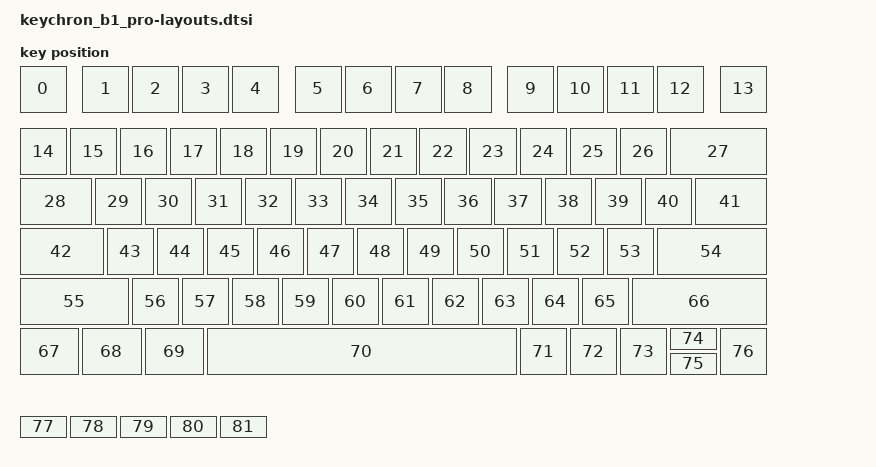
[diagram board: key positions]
/*
 * Copyright (c) 2026 zmk-kb1 contributors
 *
 * SPDX-License-Identifier: MIT
 *
 * Physical layout of the Keychron B1 Pro US, for ZMK Studio. Units are 1/100
 * of a key unit; the order follows default_transform. Key sizes and positions
 * are those of the B1 Pro US (PID 0x0711) in Keychron's Launcher definition
 * (app/src/launcher/875824913.json of Keychron ZMK at
 * c284513085c005edf5f9a52b28c8090cc6ed01d2), matched by matrix row and
 * column: 15 x 6.25 units, gaps in the F row, a 6.25-unit space bar and
 * half-height Up/Down keys. The last five entries stand for the direct inputs
 * (Mac/Win, BT, 2.4G, charging, charge done), drawn small below the keys.
 */

/ {
    layout_b1_pro_ansi: layout_b1_pro_ansi {
        compatible = "zmk,physical-layout";
        display-name = "B1 Pro US";
        transform = <&default_transform>;

        keys  //                       w   h    x   y rot rx ry
            = <&key_physical_attrs 100 100    0   0 0 0 0>  /*  0 RC(3,1) */,
              <&key_physical_attrs 100 100  125   0 0 0 0>  /*  1 RC(6,2) */,
              <&key_physical_attrs 100 100  225   0 0 0 0>  /*  2 RC(6,3) */,
              <&key_physical_attrs 100 100  325   0 0 0 0>  /*  3 RC(1,3) */,
              <&key_physical_attrs 100 100  425   0 0 0 0>  /*  4 RC(3,3) */,
              <&key_physical_attrs 100 100  550   0 0 0 0>  /*  5 RC(7,0) */,
              <&key_physical_attrs 100 100  650   0 0 0 0>  /*  6 RC(3,6) */,
              <&key_physical_attrs 100 100  750   0 0 0 0>  /*  7 RC(1,7) */,
              <&key_physical_attrs 100 100  850   0 0 0 0>  /*  8 RC(6,7) */,
              <&key_physical_attrs 100 100  975   0 0 0 0>  /*  9 RC(6,10) */,
              <&key_physical_attrs 100 100 1075   0 0 0 0>  /* 10 RC(7,10) */,
              <&key_physical_attrs 100 100 1175   0 0 0 0>  /* 11 RC(3,10) */,
              <&key_physical_attrs 100 100 1275   0 0 0 0>  /* 12 RC(5,10) */,
              <&key_physical_attrs 100 100 1400   0 0 0 0>  /* 13 RC(6,11) */,
              <&key_physical_attrs 100 100    0 125 0 0 0>  /* 14 RC(6,1) */,
              <&key_physical_attrs 100 100  100 125 0 0 0>  /* 15 RC(7,1) */,
              <&key_physical_attrs 100 100  200 125 0 0 0>  /* 16 RC(7,2) */,
              <&key_physical_attrs 100 100  300 125 0 0 0>  /* 17 RC(7,3) */,
              <&key_physical_attrs 100 100  400 125 0 0 0>  /* 18 RC(7,4) */,
              <&key_physical_attrs 100 100  500 125 0 0 0>  /* 19 RC(6,4) */,
              <&key_physical_attrs 100 100  600 125 0 0 0>  /* 20 RC(6,5) */,
              <&key_physical_attrs 100 100  700 125 0 0 0>  /* 21 RC(7,5) */,
              <&key_physical_attrs 100 100  800 125 0 0 0>  /* 22 RC(7,6) */,
              <&key_physical_attrs 100 100  900 125 0 0 0>  /* 23 RC(7,7) */,
              <&key_physical_attrs 100 100 1000 125 0 0 0>  /* 24 RC(7,8) */,
              <&key_physical_attrs 100 100 1100 125 0 0 0>  /* 25 RC(6,8) */,
              <&key_physical_attrs 100 100 1200 125 0 0 0>  /* 26 RC(6,6) */,
              <&key_physical_attrs 200 100 1300 125 0 0 0>  /* 27 RC(1,10) */,
              <&key_physical_attrs 150 100    0 225 0 0 0>  /* 28 RC(1,1) */,
              <&key_physical_attrs 100 100  150 225 0 0 0>  /* 29 RC(0,1) */,
              <&key_physical_attrs 100 100  250 225 0 0 0>  /* 30 RC(0,2) */,
              <&key_physical_attrs 100 100  350 225 0 0 0>  /* 31 RC(0,3) */,
              <&key_physical_attrs 100 100  450 225 0 0 0>  /* 32 RC(0,4) */,
              <&key_physical_attrs 100 100  550 225 0 0 0>  /* 33 RC(1,4) */,
              <&key_physical_attrs 100 100  650 225 0 0 0>  /* 34 RC(1,5) */,
              <&key_physical_attrs 100 100  750 225 0 0 0>  /* 35 RC(0,5) */,
              <&key_physical_attrs 100 100  850 225 0 0 0>  /* 36 RC(0,6) */,
              <&key_physical_attrs 100 100  950 225 0 0 0>  /* 37 RC(0,7) */,
              <&key_physical_attrs 100 100 1050 225 0 0 0>  /* 38 RC(0,8) */,
              <&key_physical_attrs 100 100 1150 225 0 0 0>  /* 39 RC(1,8) */,
              <&key_physical_attrs 100 100 1250 225 0 0 0>  /* 40 RC(1,6) */,
              <&key_physical_attrs 150 100 1350 225 0 0 0>  /* 41 RC(2,10) */,
              <&key_physical_attrs 175 100    0 325 0 0 0>  /* 42 RC(1,2) */,
              <&key_physical_attrs 100 100  175 325 0 0 0>  /* 43 RC(2,1) */,
              <&key_physical_attrs 100 100  275 325 0 0 0>  /* 44 RC(2,2) */,
              <&key_physical_attrs 100 100  375 325 0 0 0>  /* 45 RC(2,3) */,
              <&key_physical_attrs 100 100  475 325 0 0 0>  /* 46 RC(2,4) */,
              <&key_physical_attrs 100 100  575 325 0 0 0>  /* 47 RC(3,4) */,
              <&key_physical_attrs 100 100  675 325 0 0 0>  /* 48 RC(3,5) */,
              <&key_physical_attrs 100 100  775 325 0 0 0>  /* 49 RC(2,5) */,
              <&key_physical_attrs 100 100  875 325 0 0 0>  /* 50 RC(2,6) */,
              <&key_physical_attrs 100 100  975 325 0 0 0>  /* 51 RC(2,7) */,
              <&key_physical_attrs 100 100 1075 325 0 0 0>  /* 52 RC(2,8) */,
              <&key_physical_attrs 100 100 1175 325 0 0 0>  /* 53 RC(3,8) */,
              <&key_physical_attrs 225 100 1275 325 0 0 0>  /* 54 RC(4,10) */,
              <&key_physical_attrs 225 100    0 425 0 0 0>  /* 55 RC(1,15) */,
              <&key_physical_attrs 100 100  225 425 0 0 0>  /* 56 RC(4,1) */,
              <&key_physical_attrs 100 100  325 425 0 0 0>  /* 57 RC(4,2) */,
              <&key_physical_attrs 100 100  425 425 0 0 0>  /* 58 RC(4,3) */,
              <&key_physical_attrs 100 100  525 425 0 0 0>  /* 59 RC(4,4) */,
              <&key_physical_attrs 100 100  625 425 0 0 0>  /* 60 RC(5,4) */,
              <&key_physical_attrs 100 100  725 425 0 0 0>  /* 61 RC(5,5) */,
              <&key_physical_attrs 100 100  825 425 0 0 0>  /* 62 RC(4,5) */,
              <&key_physical_attrs 100 100  925 425 0 0 0>  /* 63 RC(4,6) */,
              <&key_physical_attrs 100 100 1025 425 0 0 0>  /* 64 RC(4,7) */,
              <&key_physical_attrs 100 100 1125 425 0 0 0>  /* 65 RC(5,8) */,
              <&key_physical_attrs 275 100 1225 425 0 0 0>  /* 66 RC(2,15) */,
              <&key_physical_attrs 125 100    0 525 0 0 0>  /* 67 RC(6,0) */,
              <&key_physical_attrs 125 100  125 525 0 0 0>  /* 68 RC(1,16) */,
              <&key_physical_attrs 125 100  250 525 0 0 0>  /* 69 RC(3,9) */,
              <&key_physical_attrs 625 100  375 525 0 0 0>  /* 70 RC(3,11) */,
              <&key_physical_attrs 100 100 1000 525 0 0 0>  /* 71 RC(5,9) */,
              <&key_physical_attrs 100 100 1100 525 0 0 0>  /* 72 RC(2,9) */,
              <&key_physical_attrs 100 100 1200 525 0 0 0>  /* 73 RC(5,14) */,
              <&key_physical_attrs 100  50 1300 525 0 0 0>  /* 74 RC(3,14) */,
              <&key_physical_attrs 100  50 1300 575 0 0 0>  /* 75 RC(5,11) */,
              <&key_physical_attrs 100 100 1400 525 0 0 0>  /* 76 RC(5,12) */,
              <&key_physical_attrs 100  50    0 700 0 0 0>  /* 77 RC(8,0) */,
              <&key_physical_attrs 100  50  100 700 0 0 0>  /* 78 RC(8,1) */,
              <&key_physical_attrs 100  50  200 700 0 0 0>  /* 79 RC(8,2) */,
              <&key_physical_attrs 100  50  300 700 0 0 0>  /* 80 RC(8,3) */,
              <&key_physical_attrs 100  50  400 700 0 0 0>  /* 81 RC(8,4) */
            ;
    };
};
